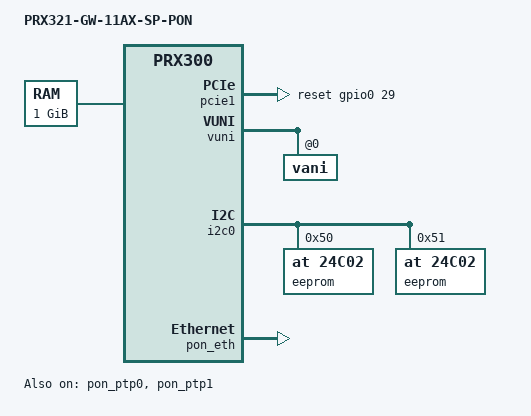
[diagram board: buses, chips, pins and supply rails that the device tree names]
/dts-v1/;
#include "prx321-gw-11ax-sp.dtsi"

/* Model configuration */
/ {
	model = "PRX321-GW-11AX-SP-PON";
	compatible = "intel,prx321-gw-11ax-sp-pon", "intel,prx300";

	chosen {
		stdout-path = "serial0";
	};

	memory@0 {
		device_type = "memory";
		reg = <0x20000000 0x40000000>; /* 1024 MB */
	};
};

&pcie1 {
	reset-gpios = <&gpio0 29 GPIO_ACTIVE_HIGH>;
};

&vuni {
	status = "okay";
	vani@0 {
		intel,extra-subif = <0>;
	};
};

&wan_xpcs_phy {
	status = "disabled";
};

&i2c0 {
	status = "okay";

	/* EEPROM of the optical WAN transceiver */
	eeprom@50 {
		compatible = "at,24c02";
		reg = <0x50>;
	};
	eeprom@51 {
		compatible = "at,24c02";
		reg = <0x51>;
	};
};

&pon_eth {
	status = "okay";
};

&pon_ptp0 {
	status = "okay";
};

&pon_ptp1 {
	status = "okay";
};

&ponmbox1 {
	status = "okay";
};
